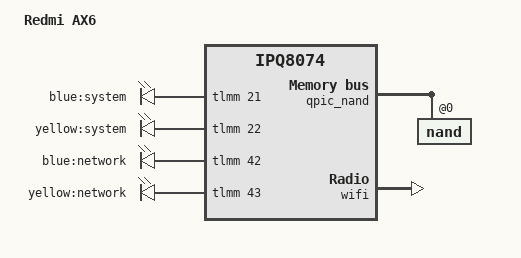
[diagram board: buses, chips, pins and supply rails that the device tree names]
// SPDX-License-Identifier: GPL-2.0-or-later OR MIT
/* Copyright (c) 2021, Zhijun You <hujy652@gmail.com> */

/dts-v1/;

#include "ipq8071-ax3600.dtsi"

/ {
	model = "Redmi AX6";
	compatible = "redmi,ax6", "qcom,ipq8074";

	chosen {
		bootargs-append = " root=/dev/ubiblock0_1";
	};

	leds {
		compatible = "gpio-leds";

		led_system_blue: system-blue {
			label = "blue:system";
			gpios = <&tlmm 21 GPIO_ACTIVE_HIGH>;
		};

		led_system_yellow: system-yellow {
			label = "yellow:system";
			gpios = <&tlmm 22 GPIO_ACTIVE_HIGH>;
		};

		network-blue {
			label = "blue:network";
			gpios = <&tlmm 42 GPIO_ACTIVE_HIGH>;
		};

		network-yellow {
			label = "yellow:network";
			gpios = <&tlmm 43 GPIO_ACTIVE_HIGH>;
		};
	};
};

&qpic_nand {
	status = "okay";

	nand@0 {
		reg = <0>;
		nand-ecc-strength = <4>;
		nand-ecc-step-size = <512>;
		nand-bus-width = <8>;

		partitions {
			compatible = "qcom,smem-part";
		};
	};
};

&wifi {
	qcom,ath11k-calibration-variant = "Redmi-AX6";
};
